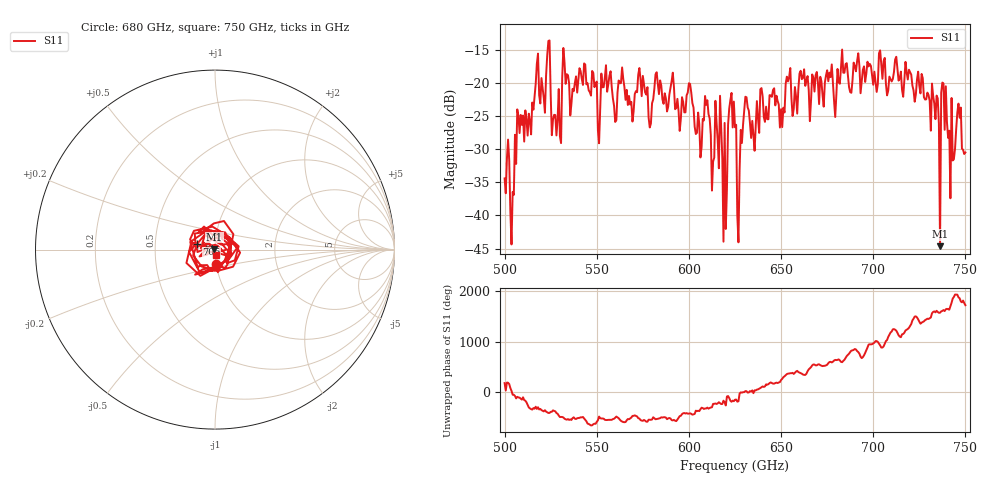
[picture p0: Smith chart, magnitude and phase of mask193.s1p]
!Created with skrf (http://scikit-rf.org).
# GHz S MA R 50.0
!freq magS11 angS11
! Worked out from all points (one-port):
!   401 points, 500 GHz to 750 GHz, reference 50 ohm
!   lowest |S11| = -44.6 dB at 736.2 GHz (marker M1), VSWR 1.01, Z = 49.6 + j0.408 ohm
!   |S11| at or under -10 dB: start of sweep to end of sweep
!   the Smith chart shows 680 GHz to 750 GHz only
!   S11 on the Smith chart (normalised r, x): 680 GHz: 1.00, -0.16; 705 GHz: 0.81, +0.05; 750 GHz: 1.01, -0.06
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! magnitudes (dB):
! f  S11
! 500 GHz  -34.4
! 503.8 GHz  -44.4
! 508.1 GHz  -27.6
! 523.8 GHz  -13.7
! 526.9 GHz  -24.8
! 531.2 GHz  -19.2
! 562.5 GHz  -20.1
! 593.8 GHz  -22.4
! 605.6 GHz  -26.3
! 610 GHz  -22.6
! 612.5 GHz  -36.2
! 616.2 GHz  -32.9
! 619.4 GHz  -26.0
! 622.5 GHz  -22.6
! 625 GHz  -26.7
! 627.5 GHz  -33.1
! 631.2 GHz  -22.2
! 635 GHz  -27.9
! 656.2 GHz  -25.0
! 680 GHz  -21.8
! 687.5 GHz  -21.4
! 705 GHz  -19.4
! 718.8 GHz  -19.5
! 736.2 GHz  -44.6
! 738.1 GHz  -20.1
! 743.1 GHz  -31.7
! 746.2 GHz  -23.1
! 750 GHz  -30.5
